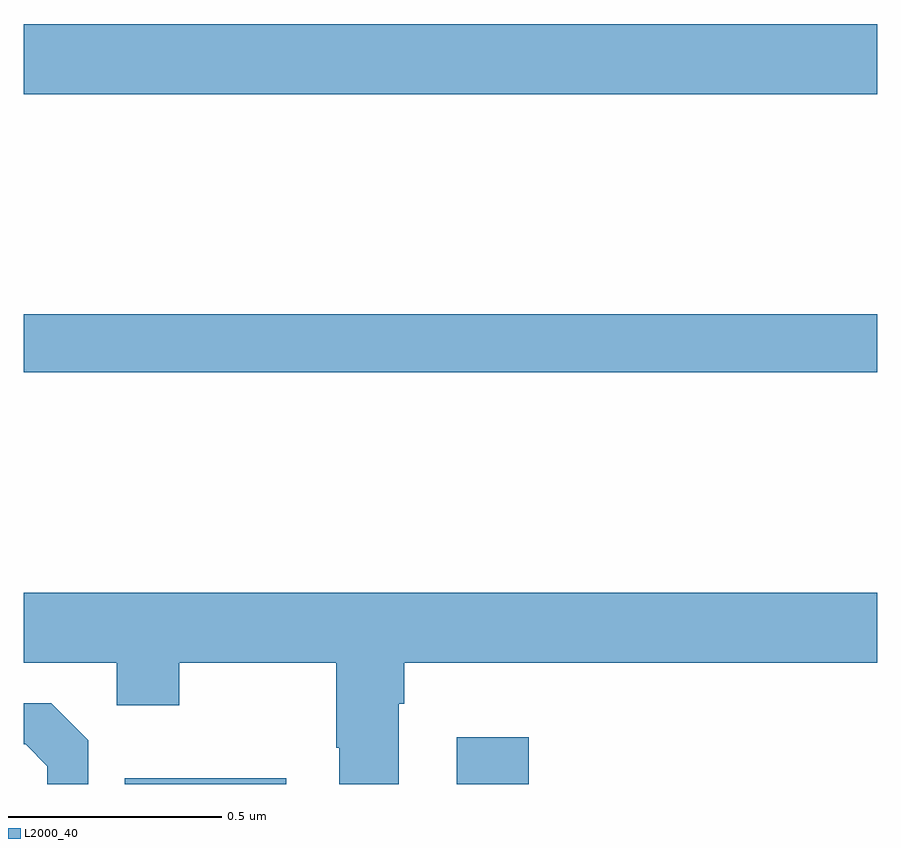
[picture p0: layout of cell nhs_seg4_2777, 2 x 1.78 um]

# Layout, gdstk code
import gdstk
lib = gdstk.Library(unit=1e-6, precision=1e-09)
def R(c, l, rs):  # rectangles x0, y0, x1, y1
    for r in rs: c.add(gdstk.rectangle(r[:2], r[2:], *l))
def P(c, l, *ps):  # polygons
    for p in ps: c.add(gdstk.Polygon(p, *l))
L2000_40 = (2000, 40)

nhs_seg4_2777 = lib.new_cell('nhs_seg4_2777')
R(nhs_seg4_2777, L2000_40, [(145.237,765.9,145.615,765.913), (146.015,765.9,146.183,766.009), (145,766.864,147,767), (145,767.516,147,767.68)])
P(nhs_seg4_2777, L2000_40, [(145.879,766.088),(145.892,766.088),(145.892,766.184),(147,766.184),(147,766.348),(145,766.348),(145,766.184),(145.218,766.184),(145.218,766.085),(145.365,766.085),(145.365,766.184),(145.732,766.184),(145.732,765.985),(145.739,765.985),(145.739,765.9),(145.879,765.9)],
  [(145.152,766.002),(145.065,766.089),(145,766.089),(145,765.993),(145.005,765.993),(145.056,765.942),(145.056,765.9),(145.152,765.9)])

lib.write_gds('nhs_seg4_2777.gds')
